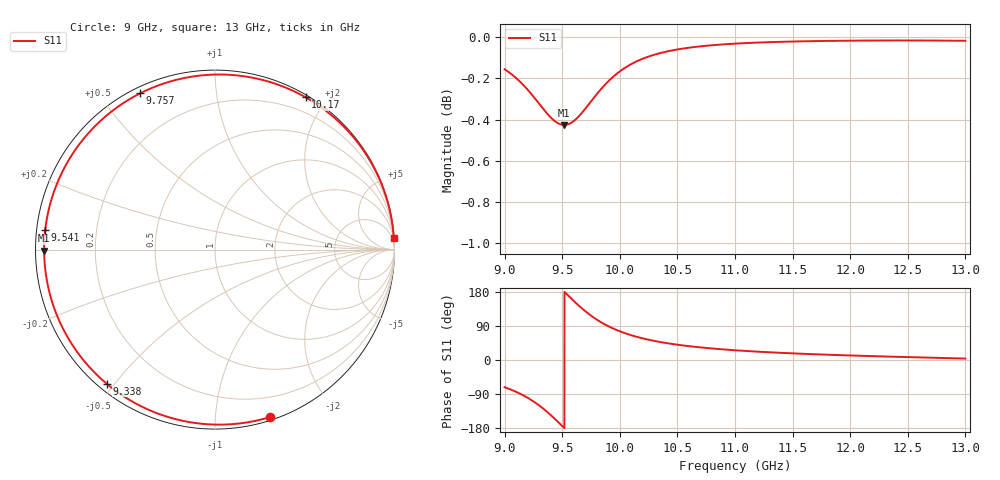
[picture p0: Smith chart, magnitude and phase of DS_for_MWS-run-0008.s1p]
! TOUCHSTONE file generated by CST DESIGN STUDIO
! Date and time: Tue Feb  4 14:09:35 2025
! Project name: C:\Work\MatlabApps\UnitCellOptimizationMatlab\CST\unitcell.cst
! Tree item: Tasks\Sweep1\SPara1\S-Parameters
! Header version: 2024
! Port assignment regex: !\s*Touchstone port\s*([0-9]+)\s*=\s*(CST MWS port|CST DES external port|CST DES block port)\s*(.+)\s* \(\"(.*)\"\)(\s*mode\s*([0-9]+))?.*
! Touchstone port assignment:
! Touchstone port 1 = CST DES external port 1 ("")
# GHz S MA R 50
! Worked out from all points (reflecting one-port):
!   4001 points, 9 GHz to 13 GHz, reference 50 ohm
!   lowest |S11| = -0.4 dB at 9.518 GHz (marker M1), VSWR 40.75, Z = 1.23 - j0.149 ohm
!   phase of S11 starts at -72 deg and turns -284 deg over the sweep
!   S11 on the Smith chart (normalised r, x): 9 GHz: 0.03, -1.38; 9.338 GHz: 0.02, -0.48; 9.541 GHz: 0.02, +0.06; 9.757 GHz: 0.02, +0.63; 10.17 GHz: 0.03, +1.76; 13 GHz: 1, +30
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9  0.9822 -71.9
9.093  0.9778 -83.1
9.198  0.9712 -99.4
9.271  0.9657 -113.6
9.338  0.9605 -128.9
9.382  0.9573 -140.2
9.428  0.9545 -153.0
9.5  0.9522 -174.2
9.518  0.9521 -179.7
9.541  0.9523 173.4
9.594  0.9539 157.6
9.654  0.9573 140.8
9.705  0.9611 127.6
9.757  0.9653 115.6
9.807  0.9692 105.3
9.862  0.9731 95.3
9.931  0.9775 84.7
10  0.9811 75.8
10.082  0.9845 67.0
10.171  0.9873 59.2
10.321  0.9906 49.1
10.5  0.9932 40.4
10.721  0.9951 32.6
11  0.9964 25.7
11.5  0.9976 17.5
12  0.9981 11.9
12.5  0.9982 7.6
13  0.998 3.8
